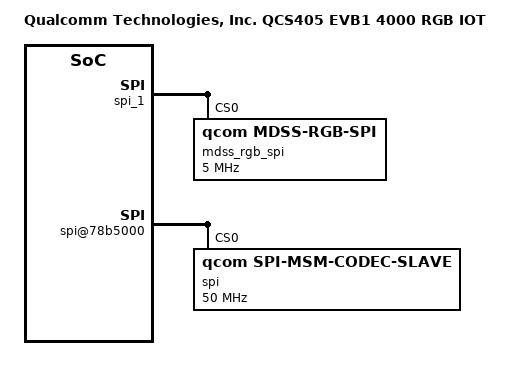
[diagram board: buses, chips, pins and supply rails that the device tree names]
/*
 * Copyright (c) 2018-2019, The Linux Foundation. All rights reserved.
 *
 * This program is free software; you can redistribute it and/or modify
 * it under the terms of the GNU General Public License version 2 and
 * only version 2 as published by the Free Software Foundation.
 *
 * This program is distributed in the hope that it will be useful,
 * but WITHOUT ANY WARRANTY; without even the implied warranty of
 * MERCHANTABILITY or FITNESS FOR A PARTICULAR PURPOSE.  See the
 * GNU General Public License for more details.
 */

/dts-v1/;

#include "qcs405.dtsi"
#include "qcs405-nowcd-audio-overlay.dtsi"
#include "qcs405-geni-ir-overlay.dtsi"
#include "qcs405-circular-pca9956.dtsi"
#include "qcs405-mdss-panels.dtsi"

/ {
	model = "Qualcomm Technologies, Inc. QCS405 EVB1 4000 RGB IOT";
	compatible = "qcom,qcs405-iot", "qcom,qcs405", "qcom,iot";
	qcom,board-id = <0x030020 0x1>;
};

&mdss_dsi {
	status = "disabled";
};

&mdss_dsi0 {
	status = "disabled";
};

&mdss_hdmi_tx {
	status = "disabled";
};

&msm_ext_disp {
	status = "disabled";
};

&mdss_mdp {
	qcom,mdss-pref-prim-intf = "rgb";
};

&mdss_rgb {
	qcom,rgb-panel = <&rgb_st7789v>;
	pinctrl-names = "mdss_default", "mdss_sleep";
	pinctrl-0 = <&mdss_rgb_active &mdss_rgb_data0_active
			&mdss_rgb_data1_active &mdss_rgb_data2_active
			&mdss_rgb_data3_active &mdss_rgb_data4_active
			&mdss_rgb_data5_active &mdss_rgb_data_b0_active
			&mdss_rgb_data_b1_active &mdss_rgb_data_b2_active
			&mdss_rgb_data_b3_active &mdss_rgb_data_b4_active
			&mdss_rgb_data_b5_active &mdss_rgb_hsync_active
			&mdss_rgb_vsync_active &mdss_rgb_de_active
			&mdss_rgb_clk_active>;
	pinctrl-1 = <&mdss_rgb_suspend &mdss_rgb_data0_suspend
			&mdss_rgb_data1_suspend &mdss_rgb_data2_suspend
			&mdss_rgb_data3_suspend &mdss_rgb_data4_suspend
			&mdss_rgb_data5_suspend &mdss_rgb_data_b0_suspend
			&mdss_rgb_data_b1_suspend &mdss_rgb_data_b2_suspend
			&mdss_rgb_data_b3_suspend &mdss_rgb_data_b4_suspend
			&mdss_rgb_data_b5_suspend &mdss_rgb_hsync_suspend
			&mdss_rgb_vsync_suspend &mdss_rgb_de_suspend
			&mdss_rgb_clk_suspend>;
	qcom,platform-reset-gpio = <&tlmm 58 0>;
};

&rgb_st7789v {
	qcom,panel-supply-entries = <&dsi_panel_pwr_supply>;
};

&spi_1 {
	status = "ok";
	mdss_rgb_spi: qcom,mdss_rgb_spi@0 {
		compatible = "qcom,mdss-rgb-spi";
		reg = <0>;
		spi-max-frequency = <5000000>;
	};
};

&soc {
	gpio_keys {
		status = "disabled";
	};
	spi@78b5000 {
		status = "ok";
		spi@0 {
			compatible = "qcom,spi-msm-codec-slave";
			reg = <0>;
			spi-max-frequency = <50000000>;
		};
	};
};

&sdhc_2 {
	/delete-property/ qcom,nonhotplug;

	pinctrl-0 = <&sdc2_clk_on &sdc2_cmd_on &sdc2_data_on
			&sdc2_wlan_on>;
	pinctrl-1 = <&sdc2_clk_off &sdc2_cmd_off &sdc2_data_off
			&sdc2_wlan_off>;
};
